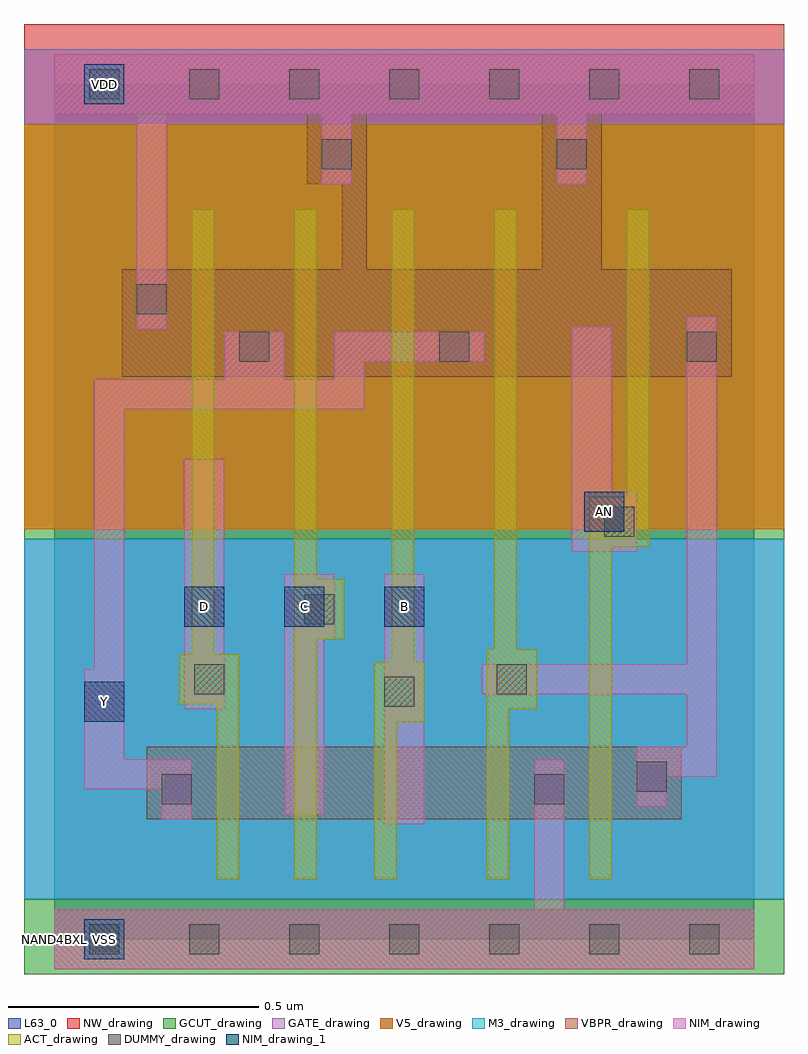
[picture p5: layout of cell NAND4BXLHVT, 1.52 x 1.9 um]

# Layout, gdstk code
import gdstk
lib = gdstk.Library(unit=1e-6, precision=5e-10)
def R(c, l, rs):  # rectangles x0, y0, x1, y1
    for r in rs: c.add(gdstk.rectangle(r[:2], r[2:], *l))
def A(c, l, x, y, w, h, nx, ny, dx, dy):  # array of equal rectangles
    R(c, l, [(x+i*dx, y+j*dy, x+i*dx+w, y+j*dy+h) for i in range(nx) for j in range(ny)])
def P(c, l, *ps):  # polygons
    for p in ps: c.add(gdstk.Polygon(p, *l))
VBPR_drawing = (1, 0)
NW_drawing = (2, 0)
ACT_drawing = (3, 0)
GATE_drawing = (4, 0)
GCUT_drawing = (5, 0)
DUMMY_drawing = (6, 0)
NIM_drawing = (7, 0)
NIM_drawing_1 = (7, 1)
M3_drawing = (18, 0)
V5_drawing = (23, 0)
L63_0 = (63, 0)

nand4bxlhvt = lib.new_cell('NAND4BXLHVT')
R(nand4bxlhvt, VBPR_drawing, [(0,-0.06,1.4,0.06), (0.185,0.24,1.255,0.385), (0,1.65,1.4,1.77)])
P(nand4bxlhvt, VBPR_drawing, [(1.355,1.34),(1.095,1.34),(1.095,1.65),(0.975,1.65),(0.975,1.34),(0.625,1.34),(0.625,1.65),(0.505,1.65),(0.505,1.51),(0.575,1.51),(0.575,1.34),(0.135,1.34),(0.135,1.125),(1.355,1.125)])
R(nand4bxlhvt, NW_drawing, [(-0.06,0.82,1.46,1.83)])
P(nand4bxlhvt, ACT_drawing, [(0.275,1.46),(0.32,1.46),(0.32,0.57),(0.37,0.57),(0.37,0.12),(0.325,0.12),(0.325,0.47),(0.25,0.47),(0.25,0.57),(0.275,0.57)],
  [(0.48,1.46),(0.525,1.46),(0.525,0.72),(0.58,0.72),(0.58,0.6),(0.525,0.6),(0.525,0.12),(0.48,0.12)],
  [(0.675,1.46),(0.72,1.46),(0.72,0.555),(0.74,0.555),(0.74,0.435),(0.685,0.435),(0.685,0.12),(0.64,0.12),(0.64,0.555),(0.675,0.555)],
  [(0.88,1.46),(0.925,1.46),(0.925,0.58),(0.965,0.58),(0.965,0.46),(0.91,0.46),(0.91,0.12),(0.865,0.12),(0.865,0.58),(0.88,0.58)],
  [(1.145,1.46),(1.19,1.46),(1.19,0.785),(1.115,0.785),(1.115,0.12),(1.07,0.12),(1.07,0.885),(1.145,0.885)])
R(nand4bxlhvt, GATE_drawing, [(-0.06,0.08,1.46,0.8), (-0.06,1.63,1.46,1.78)])
R(nand4bxlhvt, GCUT_drawing, [(-0.06,-0.07,1.46,0.08), (-0.06,0.8,1.46,1.63)])
A(nand4bxlhvt, DUMMY_drawing, 0.07, -0.03, 0.06, 0.06, 7, 2, 0.2, 1.71)
R(nand4bxlhvt, DUMMY_drawing, [(0.215,0.27,0.275,0.33), (0.96,0.27,1.02,0.33), (1.165,0.295,1.225,0.355), (0.66,0.465,0.72,0.525), (0.28,0.49,0.34,0.55), (0.885,0.49,0.945,0.55), (0.5,0.63,0.56,0.69), (1.1,0.805,1.16,0.865), (0.37,1.155,0.43,1.215), (0.77,1.155,0.83,1.215), (1.265,1.155,1.325,1.215), (0.165,1.25,0.225,1.31), (0.535,1.54,0.595,1.6), (1.005,1.54,1.065,1.6)])
R(nand4bxlhvt, NIM_drawing, [(0.96,0.06,1.02,0.36), (0.66,0.23,0.74,0.73), (0.26,0.46,0.34,0.96), (0.165,1.22,0.225,1.65), (0.535,1.51,0.595,1.65), (1.005,1.51,1.065,1.65)])
P(nand4bxlhvt, NIM_drawing, [(1.265,1.245),(1.325,1.245),(1.325,0.325),(1.225,0.325),(1.225,0.265),(1.165,0.265),(1.165,0.385),(1.265,0.385),(1.265,0.49),(0.855,0.49),(0.855,0.55),(1.265,0.55)],
  [(0.34,1.215),(0.46,1.215),(0.46,1.12),(0.56,1.12),(0.56,1.215),(0.86,1.215),(0.86,1.155),(0.62,1.155),(0.62,1.06),(0.14,1.06),(0.14,0.36),(0.275,0.36),(0.275,0.24),(0.215,0.24),(0.215,0.3),(0.06,0.3),(0.06,0.54),(0.08,0.54),(0.08,1.12),(0.34,1.12)],
  [(1.035,1.225),(1.115,1.225),(1.115,0.895),(1.165,0.895),(1.165,0.775),(1.035,0.775)],
  [(0.46,0.73),(0.56,0.73),(0.56,0.6),(0.54,0.6),(0.54,0.25),(0.46,0.25)])
A(nand4bxlhvt, NIM_drawing_1, 0.26, 0.625, 0.08, 0.08, 3, 1, 0.2, 0)
R(nand4bxlhvt, NIM_drawing_1, [(0.06,-0.04,0.14,0.04), (0.06,0.435,0.14,0.515), (1.06,0.815,1.14,0.895), (0.06,1.67,0.14,1.75)])
R(nand4bxlhvt, M3_drawing, [(-0.06,0.08,1.46,0.8)])
R(nand4bxlhvt, V5_drawing, [(-0.06,0.82,1.46,1.63)])
R(nand4bxlhvt, L63_0, [(0,0,1.4,1.71)])
nand4bxlhvt.add(gdstk.FlexPath([(0,0),(1.4,0)], 0.12, ends="flush", simple_path=True, layer=7, datatype=0))  # NIM_drawing
nand4bxlhvt.add(gdstk.FlexPath([(0,1.71),(1.4,1.71)], 0.12, ends="flush", simple_path=True, layer=7, datatype=0))  # NIM_drawing
nand4bxlhvt.add(gdstk.Label('Y', (0.1,0.475), layer=7, texttype=1))
nand4bxlhvt.add(gdstk.Label('AN', (1.1,0.855), layer=7, texttype=1))
nand4bxlhvt.add(gdstk.Label('B', (0.7,0.665), layer=7, texttype=1))
nand4bxlhvt.add(gdstk.Label('C', (0.5,0.665), layer=7, texttype=1))
nand4bxlhvt.add(gdstk.Label('D', (0.3,0.665), layer=7, texttype=1))
nand4bxlhvt.add(gdstk.Label('VDD', (0.1,1.71), layer=7, texttype=1))
nand4bxlhvt.add(gdstk.Label('VSS', (0.1,0), layer=7, texttype=1))
nand4bxlhvt.add(gdstk.Label('VSS', (0.1,0), layer=7, texttype=1))
nand4bxlhvt.add(gdstk.Label('VDD', (0.1,1.71), layer=7, texttype=1))
nand4bxlhvt.add(gdstk.Label('D', (0.3,0.665), layer=7, texttype=1))
nand4bxlhvt.add(gdstk.Label('C', (0.5,0.665), layer=7, texttype=1))
nand4bxlhvt.add(gdstk.Label('B', (0.7,0.665), layer=7, texttype=1))
nand4bxlhvt.add(gdstk.Label('AN', (1.1,0.855), layer=7, texttype=1))
nand4bxlhvt.add(gdstk.Label('Y', (0.1,0.475), layer=7, texttype=1))
nand4bxlhvt.add(gdstk.Label('NAND4BXL', (0,0), layer=63, texttype=0))

lib.write_gds('NAND4BXLHVT.gds')
